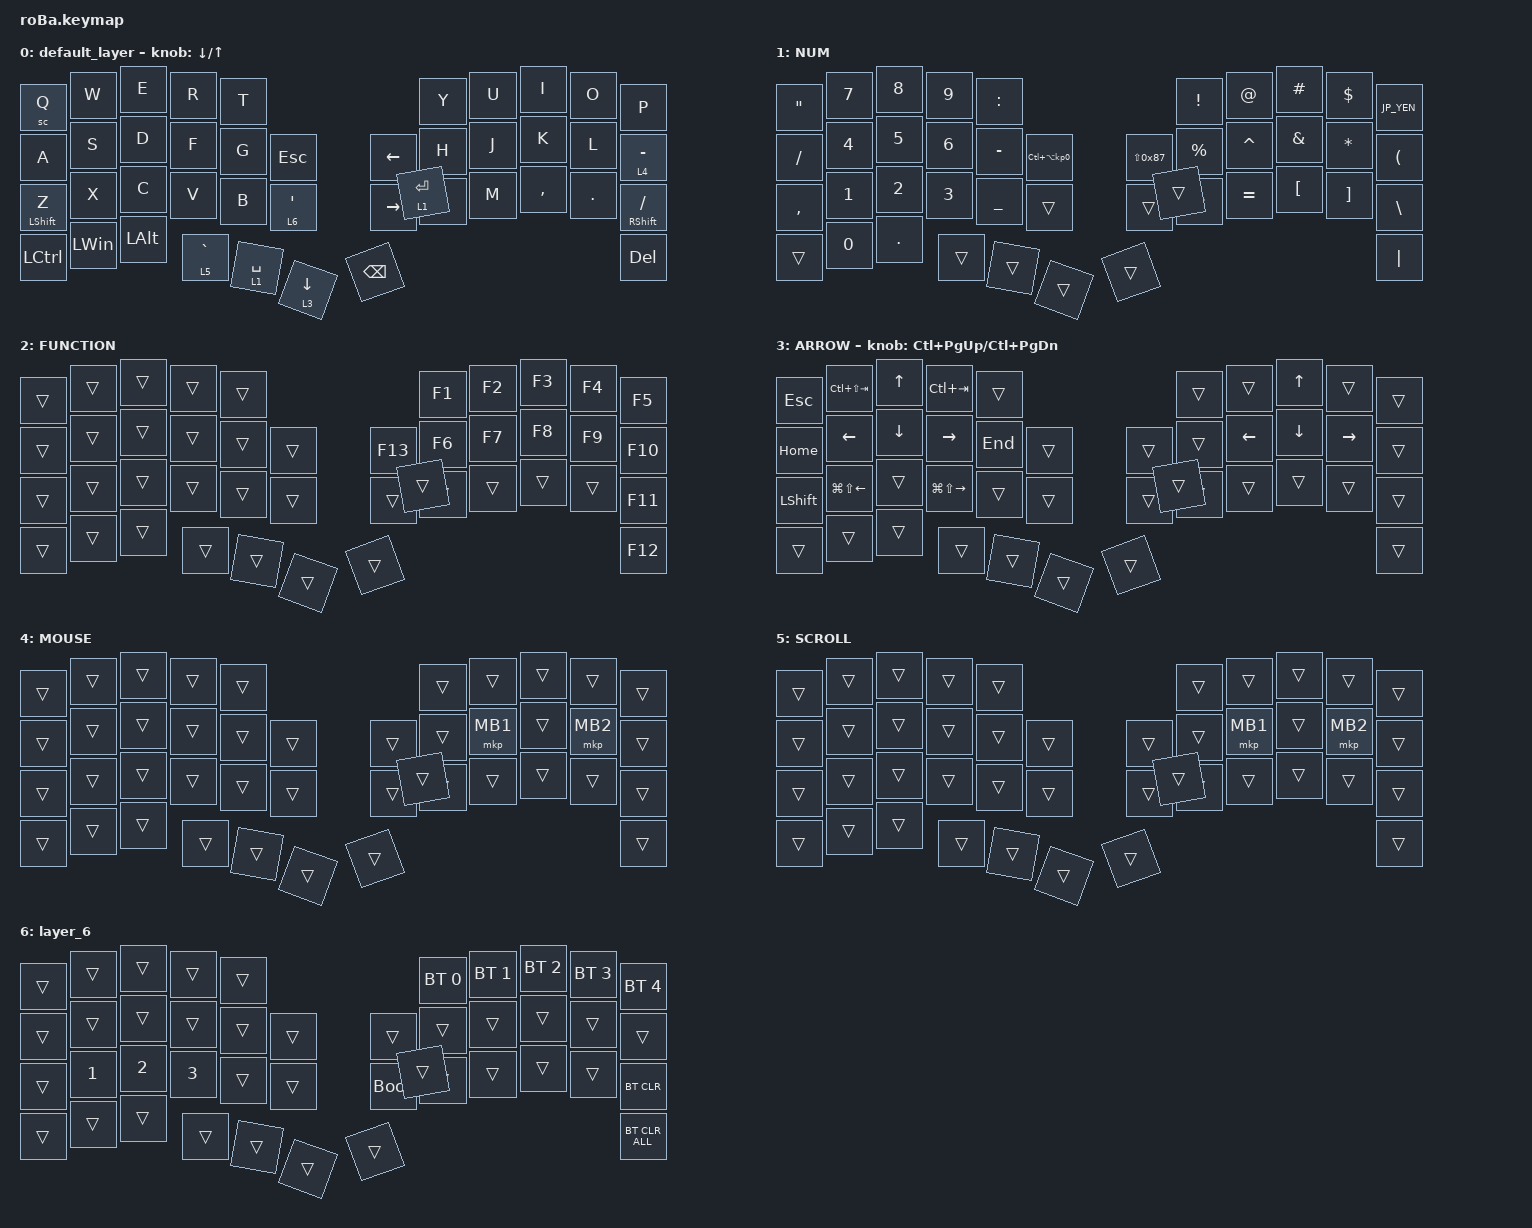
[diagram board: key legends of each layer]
#include <input/processors.dtsi>
#include <behaviors.dtsi>
#include <dt-bindings/zmk/bt.h>
#include <dt-bindings/zmk/keys.h>
#include <dt-bindings/zmk/pointing.h>

// OS設定を日本語キーボードのまま使用するための変換定義

#define JP_DQUOTE       AT                // "
#define JP_AMPERSAND    CARET             // &
#define JP_QUOTE        AMPERSAND         // '
#define JP_EQUAL        UNDER             // =
#define JP_CARET        EQUAL             // ^
#define JP_YEN          0x89              // ¥
#define JP_PLUS         COLON             // +
#define JP_TILDE        PLUS              // ~
#define JP_PIPE         LS(0x89)          // |
#define JP_AT           LEFT_BRACKET      // @
#define JP_COLON        SINGLE_QUOTE      // :
#define JP_ASTERISK     DOUBLE_QUOTES     // *
#define JP_BACKQUOTE    LEFT_BRACE        // `
#define JP_UNDERSCORE   LS(0x87)          // _
#define JP_LBRACKET     RIGHT_BRACKET     // [
#define JP_RBRACKET     BACKSLASH         // ]
#define JP_LPAREN       ASTERISK          // (
#define JP_RPAREN       LEFT_PARENTHESIS  // )
#define JP_LBRACE       RIGHT_BRACE       // {
#define JP_RBRACE       PIPE              // }
#define JP_KANA         LANGUAGE_1        // かな
#define JP_EISU         LANGUAGE_2        // 英数
#define JP_HANZEN       GRAVE             // 半角/全角

//&mkp_input_listener { input-processors = <&zip_temp_layer 4 250>; };　<-- オートマウスレイヤ削除のためにコメントアウト

&mt {
    flavor = "balanced";
    quick-tap-ms = <0>;
    tapping-term-ms = <300>;
};

&lt { tapping-term-ms = <300>; };

&trackball {
    //automouse-layer = <4>;　　<-- オートマウスレイヤ削除のためにコメントアウト

    scroll-layers = <5>;

    // arrows {
    //     layers = <3>;
    //     bindings =
    //         <&kp RIGHT_ARROW>,
    //         <&kp LEFT_ARROW>,
    //         <&kp UP_ARROW>,
    //         <&kp DOWN_ARROW>;
    //     tick = <10>;
    //     wait-ms = <5>;
    // };
};

/ {
    combos {
        compatible = "zmk,combos";

        tab {
            bindings = <&kp F7>;
            key-positions = <11 12>;
            timeout-ms = <100>;
        };

        shift_tab {
            bindings = <&kp F8>;
            key-positions = <12 13>;
            timeout-ms = <100>;
        };

        double_quotation {
            bindings = <&kp DOUBLE_QUOTES>;
            key-positions = <20 21>;
        };

        eq {
            bindings = <&kp EQUAL>;
            key-positions = <24 25>;
        };

        mouse1 {
            bindings = <&mkp MB1>;
            key-positions = <18 19>;
            timeout-ms = <100>;
        };

        mouse2 {
            bindings = <&mkp MB2>;
            key-positions = <19 20>;
            timeout-ms = <100>;
        };

        ctrlMB1 {
            bindings = <&ctrl_MB1>;
            key-positions = <21 19 18>;
            timeout-ms = <100>;
        };
    };

    macros {
        to_layer_0: to_layer_0 {
            compatible = "zmk,behavior-macro-one-param";
            #binding-cells = <1>;
            bindings = <&to 0 &macro_param_1to1 &kp MACRO_PLACEHOLDER>;
            label = "TO_LAYER_0";
        };

        // 追加: ズーム制御用マクロ。Layer 5とCtrl。離した時に強制的に Layer 0 に戻る設定を追加。

        sc: scroll_control {
            compatible = "zmk,behavior-macro";
            #binding-cells = <0>;
            bindings =
                <&macro_press>,
                <&mo 5 &kp LCTRL>,
                <&macro_pause_for_release>,
                <&macro_release>,
                <&kp LCTRL &mo 5 &to 0>;

            // 手を離した瞬間に確実に Layer 0 へ

            label = "Scroll Ctrl";
        };

        ctrl_MB1: new_macro {
            compatible = "zmk,behavior-macro";
            #binding-cells = <0>;
            bindings = <&mkp MB1>, <&macro_press>, <&kp RCTRL>;

            label = "NEW_MACRO";
        };
    };

    behaviors {
        lt_to_layer_0: lt_to_layer_0 {
            compatible = "zmk,behavior-hold-tap";
            label = "LAYER_TAP_TO_0";
            bindings = <&mo>, <&to_layer_0>;

            #binding-cells = <2>;
            tapping-term-ms = <300>;
        };

        // 追加: ホールドでズームマクロ、タップで通常キー

        zp: zoom_tap {
            compatible = "zmk,behavior-hold-tap";
            label = "Zoom / Tap";
            #binding-cells = <2>;
            bindings = <&sc>, <&kp>;

            tapping-term-ms = <200>;
            flavor = "balanced";
            hold-while-undecided;
        };
    };

    keymap {
        compatible = "zmk,keymap";

        default_layer {
            bindings = <
&zp 0 Q           &kp W         &kp E         &kp R            &kp T                                               &kp Y        &kp U  &kp I      &kp O    &kp P
&kp A             &kp S         &kp D         &kp F            &kp G        &kp ESCAPE            &kp LEFT_ARROW   &kp H        &kp J  &kp K      &kp L    &lt 4 MINUS
&mt LEFT_SHIFT Z  &kp X         &kp C         &kp V            &kp B        &lt 6 JP_COLON        &kp RIGHT_ARROW  &kp N        &kp M  &kp COMMA  &kp DOT  &mt RIGHT_SHIFT SLASH
&kp LCTRL         &kp LEFT_WIN  &kp LEFT_ALT  &lt 5 JP_HANZEN  &lt 1 SPACE  &lt 3 DOWN_ARROW      &kp BACKSPACE    &lt 1 ENTER                             &kp DEL
            >;

            sensor-bindings = <&inc_dec_kp DOWN_ARROW UP_ARROW>;
        };

        NUM {
            bindings = <
&kp JP_ASTERISK  &kp N7        &kp N8        &kp NUMBER_9  &kp JP_PLUS                                                   &kp EXCLAMATION  &kp JP_DQUOTE     &kp HASH      &kp DOLLAR       &kp JP_YEN
&kp SLASH        &kp NUMBER_4  &kp NUMBER_5  &kp NUMBER_6  &kp MINUS     &kp LC(LA(KP_NUMBER_0))      &kp JP_UNDERSCORE  &kp PERCENT      &kp JP_AMPERSAND  &kp JP_QUOTE  &kp JP_LPAREN    &kp JP_RPAREN
&kp COMMA        &kp NUMBER_1  &kp NUMBER_2  &kp NUMBER_3  &kp JP_EQUAL  &trans                       &trans             &kp JP_TILDE     &kp JP_CARET      &kp JP_AT     &kp JP_LBRACKET  &kp JP_RBRACKET
&trans           &kp NUMBER_0  &kp PERIOD    &trans        &trans        &trans                       &trans             &trans                                                            &kp PIPE
            >;
        };

        FUNCTION {
            bindings = <
&trans  &trans  &trans  &trans  &trans                       &kp F1  &kp F2  &kp F3  &kp F4  &kp F5
&trans  &trans  &trans  &trans  &trans  &trans      &kp F13  &kp F6  &kp F7  &kp F8  &kp F9  &kp F10
&trans  &trans  &trans  &trans  &trans  &trans      &trans   &trans  &trans  &trans  &trans  &kp F11
&trans  &trans  &trans  &trans  &trans  &trans      &trans   &trans                          &kp F12
            >;
        };

        ARROW {
            bindings = <
&kp ESCAPE      &kp LC(LS(TAB))         &kp UP_ARROW    &kp LC(TAB)              &trans                       &trans  &trans          &kp UP_ARROW    &trans           &trans
&kp HOME        &kp LEFT_ARROW          &kp DOWN_ARROW  &kp RIGHT_ARROW          &kp END  &trans      &trans  &trans  &kp LEFT_ARROW  &kp DOWN_ARROW  &kp RIGHT_ARROW  &trans
&kp LEFT_SHIFT  &kp LG(LS(LEFT_ARROW))  &trans          &kp LG(LS(RIGHT_ARROW))  &trans   &trans      &trans  &trans  &trans          &trans          &trans           &trans
&trans          &trans                  &trans          &trans                   &trans   &trans      &trans  &trans                                                   &trans
            >;

            sensor-bindings = <&inc_dec_kp LC(PAGE_UP) LC(PAGE_DOWN)>;
        };

        MOUSE {
            bindings = <
&trans  &trans  &trans  &trans  &trans                      &trans  &trans    &trans  &trans    &trans
&trans  &trans  &trans  &trans  &trans  &trans      &trans  &trans  &mkp MB1  &trans  &mkp MB2  &trans
&trans  &trans  &trans  &trans  &trans  &trans      &trans  &trans  &trans    &trans  &trans    &trans
&trans  &trans  &trans  &trans  &trans  &trans      &trans  &trans                              &trans
            >;
        };

        SCROLL {
            bindings = <
&trans  &trans  &trans  &trans  &trans                      &trans  &trans    &trans  &trans    &trans
&trans  &trans  &trans  &trans  &trans  &trans      &trans  &trans  &mkp MB1  &trans  &mkp MB2  &trans
&trans  &trans  &trans  &trans  &trans  &trans      &trans  &trans  &trans    &trans  &trans    &trans
&trans  &trans  &trans  &trans  &trans  &trans      &trans  &trans                              &trans
            >;
        };

        layer_6 {
            bindings = <
&trans  &trans        &trans        &trans        &trans                           &bt BT_SEL 0  &bt BT_SEL 1  &bt BT_SEL 2  &bt BT_SEL 3  &bt BT_SEL 4
&trans  &trans        &trans        &trans        &trans  &trans      &trans       &trans        &trans        &trans        &trans        &trans
&trans  &kp NUMBER_1  &kp NUMBER_2  &kp NUMBER_3  &trans  &trans      &bootloader  &trans        &trans        &trans        &trans        &bt BT_CLR
&trans  &trans        &trans        &trans        &trans  &trans      &trans       &trans                                                  &bt BT_CLR_ALL
            >;
        };
    };
};
